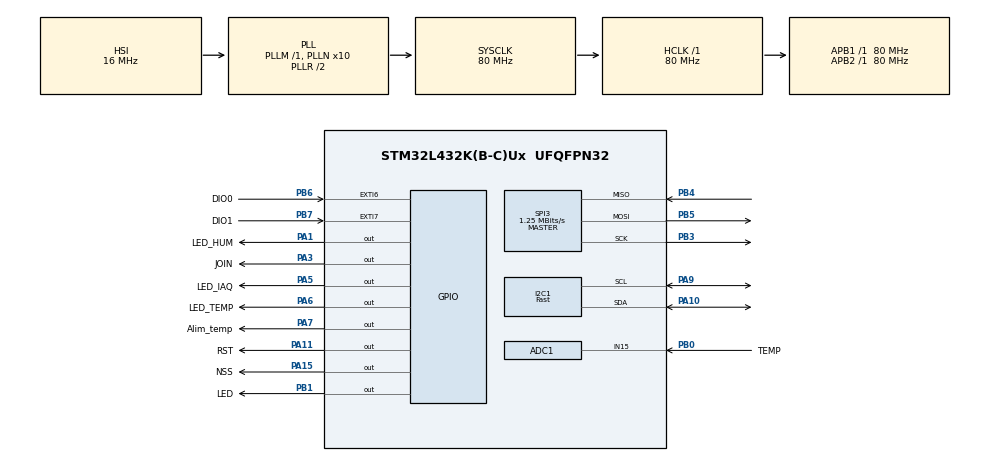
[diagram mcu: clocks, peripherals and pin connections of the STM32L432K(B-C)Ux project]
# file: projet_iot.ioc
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ADC1.Channel-1\#ChannelRegularConversion=ADC_CHANNEL_15
ADC1.NbrOfConversionFlag=1
ADC1.OffsetNumber-1\#ChannelRegularConversion=ADC_OFFSET_NONE
ADC1.Rank-1\#ChannelRegularConversion=1
ADC1.SamplingTime-1\#ChannelRegularConversion=ADC_SAMPLETIME_640CYCLES_5
ADC1.master=1
I2C1.I2C_Fall_Time=0
I2C1.I2C_Rise_Time=0
I2C1.I2C_Speed_Mode=I2C_Fast
I2C1.Timing=0x00702991
Mcu.Family=STM32L4
Mcu.Name=STM32L432K(B-C)Ux
Mcu.Package=UFQFPN32
NVIC.ADC1_IRQn=true\:0\:0\:false\:false\:true\:true\:true\:true
NVIC.EXTI9_5_IRQn=true\:0\:0\:false\:false\:true\:true\:true\:true
NVIC.PriorityGroup=NVIC_PRIORITYGROUP_4
NVIC.TIM6_DAC_IRQn=true\:0\:0\:false\:false\:true\:true\:true\:true
NVIC.TIM7_IRQn=true\:0\:0\:false\:false\:true\:true\:true\:true
PA1.GPIO_Label=LED_HUM
PA1.Signal=GPIO_Output
PA10.Mode=I2C
PA10.Signal=I2C1_SDA
PA11.GPIO_Label=RST
PA11.Signal=GPIO_Output
PA13\ (JTMS-SWDIO).Mode=Serial_Wire
PA13\ (JTMS-SWDIO).Signal=SYS_JTMS-SWDIO
PA14\ (JTCK-SWCLK).Mode=Serial_Wire
PA14\ (JTCK-SWCLK).Signal=SYS_JTCK-SWCLK
PA15\ (JTDI).GPIO_Label=NSS
PA15\ (JTDI).Signal=GPIO_Output
PA3.GPIO_Label=JOIN
PA3.Signal=GPIO_Output
PA5.GPIO_Label=LED_IAQ
PA5.Signal=GPIO_Output
PA6.GPIO_Label=LED_TEMP
PA6.Signal=GPIO_Output
PA7.GPIO_Label=Alim_temp
PA7.PinState=GPIO_PIN_SET
PA7.Signal=GPIO_Output
PA9.Mode=I2C
PA9.Signal=I2C1_SCL
PB0.GPIO_Label=TEMP
PB0.Signal=ADCx_IN15
PB1.GPIO_Label=LED
PB1.Signal=GPIO_Output
PB3\ (JTDO-TRACESWO).Mode=Full_Duplex_Master
PB3\ (JTDO-TRACESWO).Signal=SPI3_SCK
PB4\ (NJTRST).Mode=Full_Duplex_Master
PB4\ (NJTRST).Signal=SPI3_MISO
PB5.Mode=Full_Duplex_Master
PB5.Signal=SPI3_MOSI
PB6.GPIO_Label=DIO0
PB6.Signal=GPXTI6
PB7.GPIO_Label=DIO1
PB7.Signal=GPXTI7
PC14-OSC32_IN\ (PC14).Mode=LSE-External-Oscillator
PC14-OSC32_IN\ (PC14).Signal=RCC_OSC32_IN
PC15-OSC32_OUT\ (PC15).Mode=LSE-External-Oscillator
PC15-OSC32_OUT\ (PC15).Signal=RCC_OSC32_OUT
ProjectManager.HeapSize=0x200
ProjectManager.StackSize=0x400
ProjectManager.TargetToolchain=STM32CubeIDE
RCC.ADCFreq_Value=64000000
RCC.AHBFreq_Value=80000000
RCC.APB1Freq_Value=80000000
RCC.APB1TimFreq_Value=80000000
RCC.APB2Freq_Value=80000000
RCC.APB2TimFreq_Value=80000000
RCC.CortexFreq_Value=80000000
RCC.HCLKFreq_Value=80000000
RCC.HSE_VALUE=8000000
RCC.HSI48_VALUE=48000000
RCC.HSI_VALUE=16000000
RCC.MSI_VALUE=4000000
RCC.PLLN=10
RCC.PLLSourceVirtual=RCC_PLLSOURCE_HSI
RCC.SYSCLKFreq_VALUE=80000000
RCC.SYSCLKSource=RCC_SYSCLKSOURCE_PLLCLK
RCC.USBFreq_Value=64000000
RCC.VCOOutputFreq_Value=160000000
SH.ADCx_IN15.0=ADC1_IN15,IN15-Single-Ended
SPI3.BaudRatePrescaler=SPI_BAUDRATEPRESCALER_64
SPI3.CalculateBaudRate=1.25 MBits/s
SPI3.DataSize=SPI_DATASIZE_8BIT
SPI3.Direction=SPI_DIRECTION_2LINES
SPI3.Mode=SPI_MODE_MASTER
SPI3.VirtualType=VM_MASTER
TIM7.Prescaler=2500-1
VP_TIM6_VS_ClockSourceINT.Mode=Enable_Timer
VP_TIM7_VS_ClockSourceINT.Mode=Enable_Timer
board=custom

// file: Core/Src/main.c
/* USER CODE BEGIN Header */
/**
  ******************************************************************************
  * @file           : main.c
  * @brief          : Main program body
  ******************************************************************************
  * @attention
  *
  * Copyright (c) 2025 STMicroelectronics.
  * All rights reserved.
  *
  * This software is licensed under terms that can be found in the LICENSE file
  * in the root directory of this software component.
  * If no LICENSE file comes with this software, it is provided AS-IS.
  *
  ******************************************************************************
  */
/* USER CODE END Header */
#include "main.h"
#include "adc.h"
#include "i2c.h"
#include "spi.h"
#include "tim.h"
#include "gpio.h"

/* USER CODE BEGIN Includes */
#include "cayenne_lpp.h"
//#include "debug.h"
//#include "hal.h"
#include "lmic.h"
#include "lorabase.h"
#include "oslmic.h"
#include <bme680/bme68x_necessary_functions.h>
/* USER CODE END Includes */

/* USER CODE BEGIN PV */
/* Private variables ---------------------------------------------------------*/
// application router ID (LSBF) < ------- IMPORTANT
static const u1_t APPEUI[8] = { 0, 0, 0, 0, 0, 0, 0, 0 };
// unique device ID (LSBF) < ------- IMPORTANT
static const u1_t DEVEUI[8] = { 0x4C, 0x47, 0x07, 0xD0, 0x7E, 0xD5, 0xB3, 0x70};
// device-specific AES key (derived from device EUI (MSBF))
static const u1_t DEVKEY[16] = { 0x18, 0xD1, 0x68, 0xF1, 0xDC, 0xEC, 0x2C, 0xF4, 0xEA, 0x5D, 0xD4, 0x19, 0x9A, 0xAA, 0xC1, 0x52 };

volatile int entree_adc_15 = 0;
volatile float temp = 0;

cayenne_lpp_t cayenne_packet;

// BME680 data
struct bme68x_data data;
volatile int err_code = 0;

//APPEUI,DEVEUI must be copied from thethingsnetwork application datas in LSB format
//-----------------------------------------------------------------------------------------
/* USER CODE END PV */

void SystemClock_Config(void);

/* USER CODE BEGIN 0 */
// provide application router ID (8 bytes, LSBF)
void os_getArtEui (u1_t* buf) {
	memcpy(buf, APPEUI, 8);
}
// provide device ID (8 bytes, LSBF)
void os_getDevEui (u1_t* buf) {
	memcpy(buf, DEVEUI, 8);
}
// provide device key (16 bytes)
void os_getDevKey (u1_t* buf) {
	memcpy(buf, DEVKEY, 16);
}
void initsensor(){
// Here you init your sensors
	HAL_GPIO_WritePin(Alim_temp_GPIO_Port, Alim_temp_Pin, GPIO_PIN_SET); //alimente le capteur de temperature
	HAL_ADCEx_Calibration_Start(&hadc1, ADC_SINGLE_ENDED);
	/*HAL_ADCEx_Calibration_Start(&hadc1, ADC_SINGLE_ENDED);
	HAL_GPIO_WritePin(GPIOA, GPIO_PIN_7, GPIO_PIN_SET); // on met la broche qui alimente le capteur à 1
	HAL_ADCEx_Calibration_Start(&hadc1, ADC_SINGLE_ENDED);
	HAL_Delay(10); // délai pour que le capteur se stabilise */
}

void initfunc (osjob_t* j) {
	// intialize sensor hardware
	initsensor();
	// reset MAC state
	LMIC_reset();

	//LMIC_setClockError(MAX_CLOCK_ERROR * 1 / 100);
	// start joining
	LMIC_startJoining();
	// init done - onEvent() callback will be invoked...
}
u2_t readsensor(){
	u2_t value = 0xDF; /// read from evrything ...make your own sensor
	// entier non signé de 16 bits
	// On met ici ce qu'on transmet
	return value;
}

u2_t readsensor_temp(){
		return (188686 - 147 * entree_adc_15);
}

static osjob_t reportjob;

// report sensor value every minute
static void reportfunc (osjob_t* j) {

	/* // read sensor
		u2_t val = readsensor_temp();
		debug_val("val = ", val);
		// prepare and schedule data for transmission
		LMIC.frame[0] = 0x0; // Channel 0
		LMIC.frame[1] = 0x67; // Temperature sensor

		val *= 10; // Normalisation pour LPP Cayenne
		LMIC.frame[2] = (val >> 8) & 0xFF;
		LMIC.frame[3] = val & 0xFF;

	//	LMIC.frame[0] = val << 8;
	//	LMIC.frame[1] = val;
		LMIC_setTxData2(1, LMIC.frame, 4, 0); // (port 1, 2 bytes, unconfirmed)
		// reschedule job in 60 seconds
		os_setTimedCallback(j, os_getTime() + sec2osticks(15), reportfunc);
	  */

	// BME680

	if (bme68x_single_measure(&data) == 0) {
		// Measurement is successful, so continue with IAQ
	        HAL_Delay(200);

	        data.iaq_score = bme68x_iaq(); // Calculate IAQ
	        if(data.temperature > 35 ){
				HAL_GPIO_WritePin(LED_TEMP_GPIO_Port, LED_TEMP_Pin, GPIO_PIN_SET);
			}
			else {HAL_GPIO_WritePin(LED_TEMP_GPIO_Port, LED_TEMP_Pin, GPIO_PIN_RESET);}
			if(data.humidity > 35){
				HAL_GPIO_WritePin(LED_HUM_GPIO_Port, LED_HUM_Pin, GPIO_PIN_SET);
			}

			else {HAL_GPIO_WritePin(LED_HUM_GPIO_Port, LED_HUM_Pin, GPIO_PIN_RESET);}
			if(data.iaq_score > 50){
				HAL_GPIO_WritePin(LED_IAQ_GPIO_Port, LED_IAQ_Pin, GPIO_PIN_SET);
			}
			else{ HAL_GPIO_WritePin(LED_IAQ_GPIO_Port, LED_IAQ_Pin, GPIO_PIN_RESET);}
	    }

		cayenne_lpp_reset(&cayenne_packet);

		// On met sur les différents canaux du buffer les données que l'on souhaite.

		cayenne_lpp_add_temperature(&cayenne_packet, 0, data.temperature);
		cayenne_lpp_add_relative_humidity(&cayenne_packet, 1, data.humidity);
		cayenne_lpp_add_barometric_pressure(&cayenne_packet, 2, data.pressure/100);
		cayenne_lpp_add_analog_output(&cayenne_packet, 3, data.iaq_score);
		cayenne_lpp_add_analog_output(&cayenne_packet, 4, (float)(data.gas_index));
		cayenne_lpp_add_analog_output(&cayenne_packet, 5, data.gas_resistance);

		//LMIC_setTxData2(1, cayenne_packet.buffer, sizeof(cayenne_packet.buffer), 0);

		//  On envoioe les data du buffer à TTN grâce à la librairie cayenne_lpp.
		LMIC_setTxData2(1, cayenne_packet.buffer, cayenne_packet.cursor, 0);

		// On fait un envoi toutes les 30 secondes
		os_setTimedCallback(j, os_getTime()+sec2osticks(30), reportfunc);

	}

//////////////////////////////////////////////////
// LMIC EVENT CALLBACK
//////////////////////////////////////////////////
void onEvent (ev_t ev) {
	switch(ev) {
	// network joined, session established
		case EV_JOINING:
			break;
		case EV_JOINED:
			// kick-off periodic sensor job
			HAL_GPIO_WritePin(JOIN_GPIO_Port, JOIN_Pin, GPIO_PIN_SET);
			reportfunc(&reportjob);
			break;
		case EV_JOIN_FAILED:
			HAL_GPIO_WritePin(JOIN_GPIO_Port, JOIN_Pin, GPIO_PIN_RESET);
			break;
		case EV_SCAN_TIMEOUT:
			break;
		case EV_BEACON_FOUND:
			break;
		case EV_BEACON_MISSED:
			break;
		case EV_BEACON_TRACKED:
			break;
		case EV_RFU1:
			break;
		case EV_REJOIN_FAILED:
			break;
		case EV_TXCOMPLETE:
			break;
		case EV_LOST_TSYNC:
			break;
		case EV_RESET:
			break;
		case EV_RXCOMPLETE:
			// data received in ping slot
			break;
		case EV_LINK_DEAD:
			break;
		case EV_LINK_ALIVE:
			break;
		default:
			break;
	}
}

/* USER CODE END 0 */

int main(void)
{

  /* MCU Configuration--------------------------------------------------------*/

  /* Reset of all peripherals, Initializes the Flash interface and the Systick. */
  HAL_Init();

  /* Configure the system clock */
  SystemClock_Config();

  /* Initialize all configured peripherals */
  MX_GPIO_Init();
  MX_TIM7_Init();
  MX_SPI3_Init();
  MX_ADC1_Init();
  MX_I2C1_Init();
  MX_TIM6_Init();
  /* USER CODE BEGIN 2 */

  /* BME680 API forced mode test */
  bme68x_start(&data, &hi2c1);

  HAL_TIM_Base_Start_IT(&htim6); //demarrage du timer 6 en interruption toutes les secondes pour la mesure temperature
  HAL_TIM_Base_Start_IT(&htim7);   // <----------- change to your setup
  __HAL_SPI_ENABLE(&hspi3);        // <----------- change to your setup
  osjob_t initjob;
  // initialize runtime env
  os_init();
  // setup initial job
  os_setCallback(&initjob, initfunc); // Lance la radio
  // execute scheduled jobs and events
  //os_runloop();
  // (not reached)
  //return 0;

  // setup initial job dans main.c
  //os_setCallback(&hellojob, hellofunc);
 // execute scheduled jobs and events
  os_runloop();
 // (not reached)
  return 0;

  /* USER CODE END 2 */

  /* Infinite loop */
  while (1)
  {

  }
}

void SystemClock_Config(void)
{
  RCC_OscInitTypeDef RCC_OscInitStruct = {0};
  RCC_ClkInitTypeDef RCC_ClkInitStruct = {0};

  /** Configure the main internal regulator output voltage
  */
  if (HAL_PWREx_ControlVoltageScaling(PWR_REGULATOR_VOLTAGE_SCALE1) != HAL_OK)
  {
    Error_Handler();
  }

  /** Initializes the RCC Oscillators according to the specified parameters
  * in the RCC_OscInitTypeDef structure.
  */
  RCC_OscInitStruct.OscillatorType = RCC_OSCILLATORTYPE_HSI;
  RCC_OscInitStruct.HSIState = RCC_HSI_ON;
  RCC_OscInitStruct.HSICalibrationValue = RCC_HSICALIBRATION_DEFAULT;
  RCC_OscInitStruct.PLL.PLLState = RCC_PLL_ON;
  RCC_OscInitStruct.PLL.PLLSource = RCC_PLLSOURCE_HSI;
  RCC_OscInitStruct.PLL.PLLM = 1;
  RCC_OscInitStruct.PLL.PLLN = 10;
  RCC_OscInitStruct.PLL.PLLP = RCC_PLLP_DIV7;
  RCC_OscInitStruct.PLL.PLLQ = RCC_PLLQ_DIV2;
  RCC_OscInitStruct.PLL.PLLR = RCC_PLLR_DIV2;
  if (HAL_RCC_OscConfig(&RCC_OscInitStruct) != HAL_OK)
  {
    Error_Handler();
  }

  /** Initializes the CPU, AHB and APB buses clocks
  */
  RCC_ClkInitStruct.ClockType = RCC_CLOCKTYPE_HCLK|RCC_CLOCKTYPE_SYSCLK
                              |RCC_CLOCKTYPE_PCLK1|RCC_CLOCKTYPE_PCLK2;
  RCC_ClkInitStruct.SYSCLKSource = RCC_SYSCLKSOURCE_PLLCLK;
  RCC_ClkInitStruct.AHBCLKDivider = RCC_SYSCLK_DIV1;
  RCC_ClkInitStruct.APB1CLKDivider = RCC_HCLK_DIV1;
  RCC_ClkInitStruct.APB2CLKDivider = RCC_HCLK_DIV1;

  if (HAL_RCC_ClockConfig(&RCC_ClkInitStruct, FLASH_LATENCY_4) != HAL_OK)
  {
    Error_Handler();
  }
}

/* USER CODE BEGIN 4 */

/*

void HAL_ADC_ConvCpltCallback(ADC_HandleTypeDef *hadc)
{
	entree_adc_15 = HAL_ADC_GetValue(&hadc1);
}
*/
/* USER CODE END 4 */

void Error_Handler(void)
{
  __disable_irq();
  while (1)
  {
  }
}
